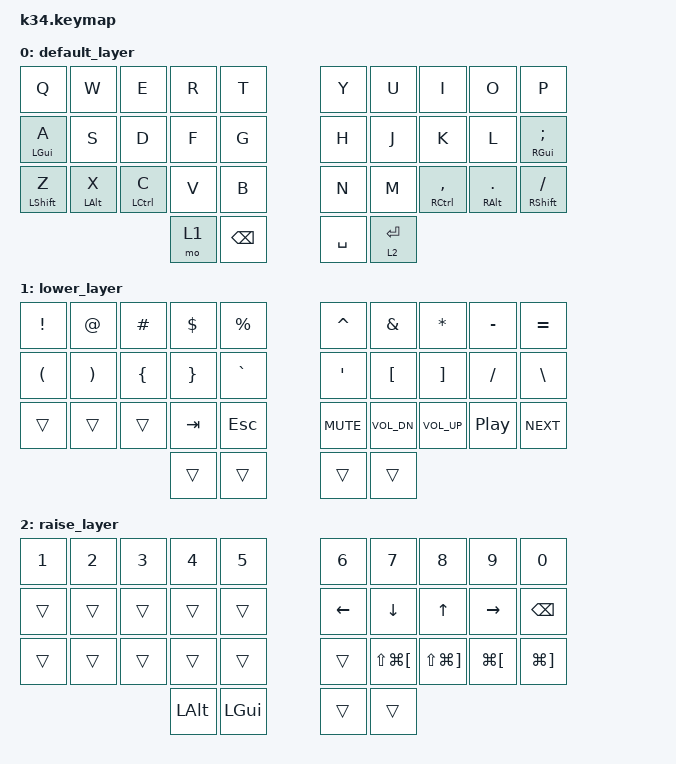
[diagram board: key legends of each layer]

#include <behaviors.dtsi>
#include <dt-bindings/zmk/keys.h>
#include <dt-bindings/zmk/bt.h>

/ {
    combos {
        compatible = "zmk,combos";
        combo_esc {
            timeout-ms = <150>;
            key-positions = <16 17>;
            bindings = <&kp ESC>;
        };
    };
};

/ {
    behaviors {
        hm: homerow_mods {
            compatible = "zmk,behavior-hold-tap";
            label = "homerow mods";
            #binding-cells = <2>;
            tapping-term-ms = <350>;
            flavor = "tap-preferred";
            bindings = <&kp>, <&kp>;
        };
        hf: homerow_mods_fast {
            compatible = "zmk,behavior-hold-tap";
            label = "homerow mods fast";
            #binding-cells = <2>;
            tapping-term-ms = <150>;
            flavor = "tap-preferred";
            bindings = <&kp>, <&kp>;
        };
    };
};

/ {
        keymap {
                compatible = "zmk,keymap";

                default_layer {
                        bindings = <
   &kp Q        &kp W      &kp E       &kp R &kp T    &kp Y &kp U  &kp I           &kp O        &kp P
   &hm LGUI A   &kp S      &kp D       &kp F &kp G    &kp H &kp J  &kp K           &kp L        &hm RGUI SEMI
   &hf LSHIFT Z &hm LALT X &hm LCTRL C &kp V &kp B    &kp N &kp M  &hm RCTRL COMMA &hm RALT DOT &hf RSHIFT FSLH
                           &mo 1       &kp BSPC       &kp SPACE    &lt 2 RET
                        >;
                };

                lower_layer {
                        bindings = <
  &kp EXCL &kp AT   &kp HASH &kp DLLR &kp PRCNT   &kp CARET  &kp AMPS      &kp STAR     &kp MINUS &kp EQUAL
  &kp LPAR &kp RPAR &kp LBRC &kp RBRC &kp GRAVE   &kp APOS   &kp LBKT      &kp RBKT     &kp FSLH  &kp BSLH
  &trans   &trans   &trans   &kp TAB  &kp ESC     &kp C_MUTE &kp C_VOL_DN  &kp C_VOL_UP &kp C_PP  &kp C_NEXT
                             &trans   &trans      &trans     &trans
                        >;
                };

                raise_layer {
                        bindings = <
  &kp N1 &kp N2 &kp N3 &kp N4   &kp N5      &kp N6      &kp N7           &kp N8 &kp N9    &kp N0
  &trans &trans &trans &trans   &trans      &kp LEFT    &kp DOWN         &kp UP &kp RIGHT &kp BSPC
  &trans &trans &trans &trans   &trans      &trans      &kp LS(LG(LBKT)) &kp LS(LG(RBKT)) &kp LG(LBKT) &kp LG(RBKT)
                       &kp LALT &kp LGUI    &trans      &trans
                        >;
                };
        };
};

